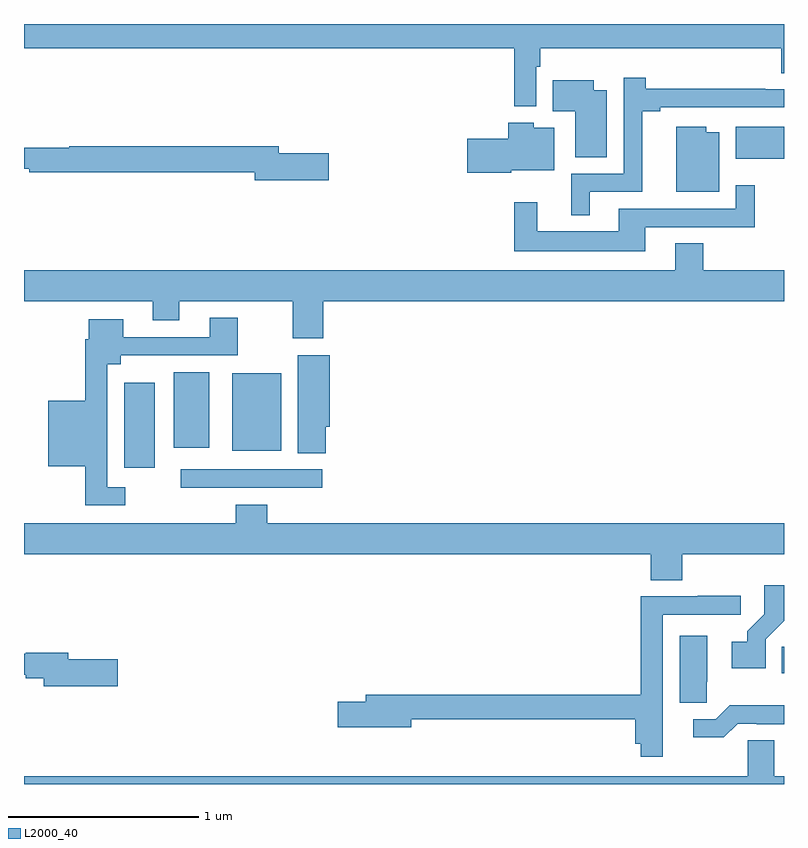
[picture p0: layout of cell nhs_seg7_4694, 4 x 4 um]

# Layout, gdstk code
import gdstk
lib = gdstk.Library(unit=1e-6, precision=1e-09)
def R(c, l, rs):  # rectangles x0, y0, x1, y1
    for r in rs: c.add(gdstk.rectangle(r[:2], r[2:], *l))
def P(c, l, *ps):  # polygons
    for p in ps: c.add(gdstk.Polygon(p, *l))
L2000_40 = (2000, 40)

nhs_seg7_4694 = lib.new_cell('nhs_seg7_4694')
R(nhs_seg7_4694, L2000_40, [(408.988,1074.584,409,1074.722), (405.825,1075.56,406.57,1075.656), (405.527,1075.665,405.688,1076.113), (406.097,1075.754,406.354,1076.161), (405.788,1075.769,405.976,1076.167), (408.746,1077.29,409,1077.46)])
P(nhs_seg7_4694, L2000_40, [(407.697,1077.776),(407.717,1077.776),(407.717,1077.872),(408.986,1077.872),(408.986,1077.742),(409,1077.742),(409,1078),(405,1078),(405,1077.872),(407.581,1077.872),(407.581,1077.566),(407.697,1077.566)],
  [(407.977,1077.117),(408.254,1077.117),(408.254,1077.541),(408.349,1077.541),(408.349,1077.561),(409,1077.561),(409,1077.657),(408.902,1077.657),(408.902,1077.659),(408.272,1077.659),(408.272,1077.718),(408.156,1077.718),(408.156,1077.213),(407.879,1077.213),(407.879,1076.993),(407.977,1076.993)],
  [(408.067,1077.652),(407.998,1077.652),(407.998,1077.703),(407.782,1077.703),(407.782,1077.542),(407.9,1077.542),(407.9,1077.298),(408.067,1077.298)],
  [(407.565,1077.23),(407.791,1077.23),(407.791,1077.454),(407.682,1077.454),(407.682,1077.481),(407.549,1077.481),(407.549,1077.396),(407.334,1077.396),(407.334,1077.218),(407.565,1077.218)],
  [(408.658,1077.43),(408.592,1077.43),(408.592,1077.46),(408.434,1077.46),(408.434,1077.116),(408.658,1077.116)],
  [(406.603,1077.32),(406.342,1077.32),(406.342,1077.356),(405.238,1077.356),(405.238,1077.349),(405,1077.349),(405,1077.239),(405.028,1077.239),(405.028,1077.22),(406.214,1077.22),(406.214,1077.178),(406.603,1077.178)],
  [(408.271,1076.931),(408.845,1076.931),(408.845,1077.151),(408.747,1077.151),(408.747,1077.027),(408.131,1077.027),(408.131,1076.908),(407.701,1076.908),(407.701,1077.061),(407.58,1077.061),(407.58,1076.804),(408.271,1076.804)],
  [(406.574,1076.54),(409,1076.54),(409,1076.704),(408.576,1076.704),(408.576,1076.846),(408.428,1076.846),(408.428,1076.704),(405,1076.704),(405,1076.54),(405.677,1076.54),(405.677,1076.441),(405.817,1076.441),(405.817,1076.54),(406.414,1076.54),(406.414,1076.346),(406.574,1076.346)],
  [(405.532,1075.563),(405.439,1075.563),(405.439,1075.913),(405.438,1075.913),(405.438,1076.21),(405.508,1076.21),(405.508,1076.256),(406.125,1076.256),(406.125,1076.455),(405.977,1076.455),(405.977,1076.352),(405.523,1076.352),(405.523,1076.446),(405.341,1076.446),(405.341,1076.342),(405.322,1076.342),(405.322,1076.017),(405.128,1076.017),(405.128,1075.673),(405.322,1075.673),(405.322,1075.467),(405.532,1075.467)],
  [(406.589,1075.881),(406.61,1075.881),(406.61,1076.257),(406.442,1076.257),(406.442,1075.741),(406.589,1075.741)],
  [(408.464,1075.208),(409,1075.208),(409,1075.372),(406.28,1075.372),(406.28,1075.471),(406.115,1075.471),(406.115,1075.372),(405,1075.372),(405,1075.208),(408.299,1075.208),(408.299,1075.072),(408.464,1075.072)],
  [(408.903,1074.763),(409,1074.86),(409,1075.045),(408.897,1075.045),(408.897,1074.893),(408.806,1074.803),(408.806,1074.748),(408.726,1074.748),(408.726,1074.608),(408.903,1074.608)],
  [(408.363,1074.891),(408.772,1074.891),(408.772,1074.99),(408.547,1074.99),(408.547,1074.987),(408.247,1074.987),(408.247,1074.47),(406.799,1074.47),(406.799,1074.434),(406.65,1074.434),(406.65,1074.299),(407.038,1074.299),(407.038,1074.342),(408.218,1074.342),(408.218,1074.212),(408.247,1074.212),(408.247,1074.144),(408.363,1074.144)],
  [(408.594,1074.538),(408.595,1074.538),(408.595,1074.781),(408.452,1074.781),(408.452,1074.427),(408.594,1074.427)],
  [(405.493,1074.656),(405.232,1074.656),(405.232,1074.692),(405.008,1074.692),(405.008,1074.685),(405,1074.685),(405,1074.575),(405.008,1074.575),(405.008,1074.556),(405.104,1074.556),(405.104,1074.514),(405.493,1074.514)],
  [(408.756,1074.318),(408.856,1074.318),(408.856,1074.315),(409,1074.315),(409,1074.415),(408.715,1074.415),(408.642,1074.342),(408.522,1074.342),(408.522,1074.245),(408.683,1074.245)],
  [(409,1074.04),(408.949,1074.04),(408.949,1074.23),(408.81,1074.23),(408.81,1074.04),(405,1074.04),(405,1074),(409,1074)])

lib.write_gds('nhs_seg7_4694.gds')
